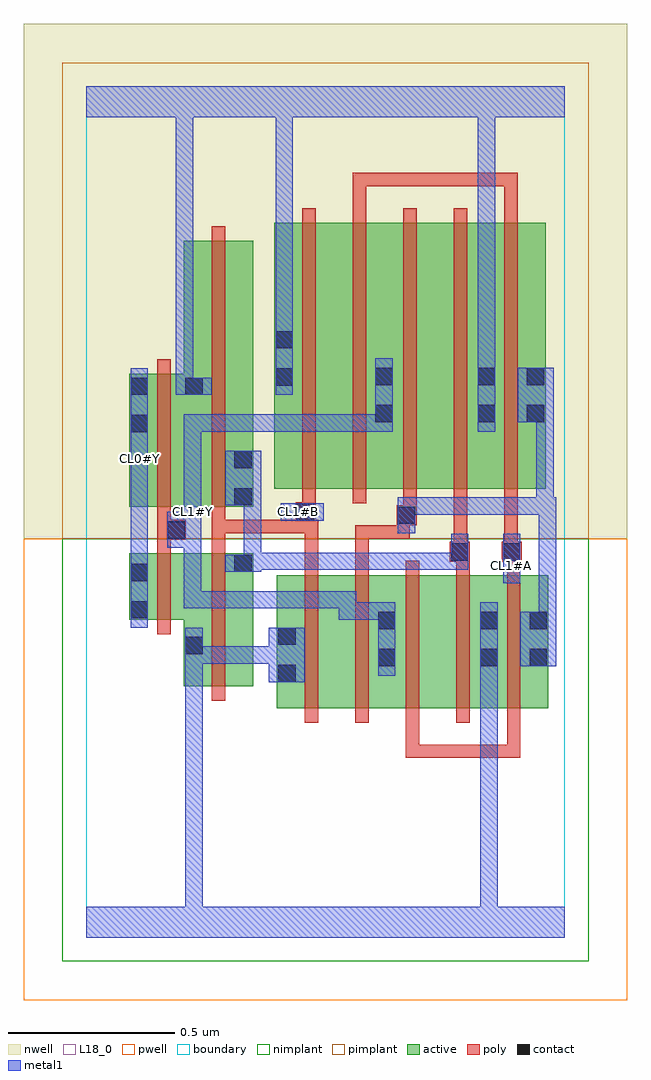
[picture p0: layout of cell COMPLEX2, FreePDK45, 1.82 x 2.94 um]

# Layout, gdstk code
import gdstk
lib = gdstk.Library(unit=1e-6, precision=1e-09)
def R(c, l, rs):  # rectangles x0, y0, x1, y1
    for r in rs: c.add(gdstk.rectangle(r[:2], r[2:], *l))
def A(c, l, x, y, w, h, nx, ny, dx, dy):  # array of equal rectangles
    R(c, l, [(x+i*dx, y+j*dy, x+i*dx+w, y+j*dy+h) for i in range(nx) for j in range(ny)])
active = (1, 0)
pwell = (2, 0)
nwell = (3, 0)
nimplant = (4, 0)
pimplant = (5, 0)
poly = (9, 0)
contact = (10, 0)
metal1 = (11, 0)
L18_0 = (18, 0)
boundary = (235, 0)

complex2 = lib.new_cell('COMPLEX2')
R(complex2, active, [(0.574,0.69,0.754,1.09), (0.754,0.69,0.934,1.09), (0.874,0.69,1.058,1.09), (1.058,0.69,1.242,1.09), (1.182,0.69,1.39,1.09), (0.294,0.756,0.502,1.156), (0.294,0.756,0.354,1.156), (0.442,0.756,0.502,1.156), (0.574,0.756,0.634,0.948), (0.874,0.756,0.934,0.984), (1.182,0.756,1.242,0.984), (1.33,0.756,1.39,1.09), (0.13,0.956,0.354,1.156), (0.13,0.956,0.19,1.156), (0.13,1.296,0.19,1.696), (0.13,1.296,0.354,1.696), (0.294,1.296,0.502,2.096), (0.294,1.296,0.354,2.096), (0.442,1.296,0.502,2.044), (0.566,1.35,0.746,2.15), (0.746,1.35,0.926,2.15), (0.866,1.35,1.05,2.15), (1.05,1.35,1.234,2.15), (1.174,1.35,1.382,2.15), (1.322,1.35,1.382,2.044), (0.566,1.452,0.626,2.044), (0.866,1.546,0.926,2.044), (1.174,1.546,1.234,2.044)])
R(complex2, pwell, [(-0.188,-0.188,1.628,1.2)])
R(complex2, nwell, [(-0.188,1.2,1.628,2.748)])
R(complex2, nimplant, [(-0.072,-0.072,1.512,1.2)])
R(complex2, pimplant, [(-0.072,1.2,1.512,2.632)])
A(complex2, poly, 0.658, 0.646, 0.04, 0.488, 5, 1, 0.152, 0)
A(complex2, poly, 0.65, 1.306, 0.04, 0.888, 5, 1, 0.152, 0)
R(complex2, poly, [(0.962,0.54,1.002,0.686), (0.962,0.54,1.002,0.58), (0.962,0.54,1.184,0.58), (1.144,0.54,1.184,0.58), (1.144,0.54,1.184,0.58), (1.144,0.54,1.184,0.58), (1.144,0.54,1.306,0.58), (1.266,0.54,1.306,0.686), (1.266,0.54,1.306,0.58), (1.266,0.54,1.306,0.58), (1.266,0.54,1.306,0.58), (0.378,0.712,0.418,1.2), (0.214,0.912,0.254,1.2), (0.658,1.094,0.698,1.256), (0.81,1.094,0.85,1.24), (1.114,1.094,1.154,1.17), (1.266,1.094,1.306,1.17), (1.094,1.13,1.154,1.19), (1.25,1.13,1.31,1.19), (1.106,1.15,1.146,1.19), (1.106,1.15,1.146,1.19), (1.106,1.15,1.146,1.346), (1.258,1.15,1.298,1.19), (1.258,1.15,1.298,1.19), (1.258,1.15,1.298,1.346), (0.214,1.16,0.254,1.236), (0.378,1.16,0.418,1.256), (0.214,1.196,0.3,1.256), (0.81,1.2,0.85,1.24), (0.81,1.2,0.85,1.24), (0.81,1.2,0.85,1.24), (0.81,1.2,0.974,1.24), (0.934,1.2,0.974,1.28), (0.214,1.216,0.254,1.256), (0.214,1.216,0.254,1.256), (0.214,1.216,0.254,1.292), (0.378,1.216,0.418,1.256), (0.378,1.216,0.418,1.256), (0.378,1.216,0.418,1.256), (0.378,1.216,0.418,1.256), (0.378,1.216,0.418,1.256), (0.378,1.216,0.418,1.292), (0.378,1.216,0.69,1.256), (0.65,1.216,0.69,1.256), (0.65,1.216,0.69,1.256), (0.65,1.216,0.69,1.29), (0.65,1.216,0.698,1.256), (0.934,1.24,0.974,1.28), (0.934,1.24,0.994,1.3), (0.63,1.25,0.69,1.31), (0.214,1.252,0.254,1.74), (0.378,1.252,0.418,2.14), (0.954,1.26,0.994,1.346), (0.65,1.27,0.69,1.346), (0.802,2.154,0.842,2.3), (1.258,2.154,1.298,2.3), (0.802,2.26,0.842,2.3), (0.802,2.26,0.842,2.3), (0.802,2.26,0.842,2.3), (0.802,2.26,0.956,2.3), (0.916,2.26,0.956,2.3), (0.916,2.26,1.108,2.3), (1.068,2.26,1.108,2.3), (1.068,2.26,1.108,2.3), (1.068,2.26,1.108,2.3), (1.068,2.26,1.298,2.3), (1.258,2.26,1.298,2.3), (1.258,2.26,1.298,2.3), (1.258,2.26,1.298,2.3)])
R(complex2, contact, [(0.578,0.768,0.63,0.82), (0.878,0.816,0.93,0.868), (1.186,0.816,1.238,0.868), (1.334,0.816,1.386,0.868), (0.298,0.852,0.35,0.904), (0.578,0.88,0.63,0.932), (0.878,0.928,0.93,0.98), (1.186,0.928,1.238,0.98), (1.334,0.928,1.386,0.98), (0.134,0.96,0.186,1.012), (0.134,1.072,0.186,1.124), (0.446,1.1,0.498,1.152), (1.098,1.134,1.15,1.186), (1.254,1.134,1.306,1.186), (0.244,1.2,0.296,1.252), (0.938,1.244,0.99,1.296), (0.634,1.254,0.686,1.306), (0.446,1.3,0.498,1.352), (0.446,1.412,0.498,1.464), (0.134,1.52,0.186,1.572), (0.87,1.55,0.922,1.602), (1.178,1.55,1.23,1.602), (1.326,1.55,1.378,1.602), (0.134,1.632,0.186,1.684), (0.298,1.632,0.35,1.684), (0.57,1.66,0.622,1.712), (0.87,1.662,0.922,1.714), (1.178,1.662,1.23,1.714), (1.326,1.662,1.378,1.714), (0.57,1.772,0.622,1.824)])
R(complex2, metal1, [(0,0,1.44,0.092), (0.298,0.04,0.35,0.092), (0.298,0.04,0.35,0.092), (0.298,0.04,0.35,0.092), (0.298,0.04,0.35,0.092), (0.298,0.04,0.35,0.092), (0.298,0.04,0.35,0.092), (0.298,0.04,0.35,0.092), (0.298,0.04,0.35,0.092), (0.298,0.04,0.35,0.876), (1.186,0.04,1.238,0.092), (1.186,0.04,1.238,0.092), (1.186,0.04,1.238,0.092), (1.186,0.04,1.238,0.092), (1.186,0.04,1.238,0.092), (1.186,0.04,1.238,0.092), (1.186,0.04,1.238,0.84), (0.55,0.768,0.658,0.932), (0.878,0.788,0.93,1.008), (1.186,0.788,1.238,0.84), (1.186,0.788,1.238,0.84), (1.186,0.788,1.238,0.84), (1.186,0.788,1.238,0.84), (1.186,0.788,1.238,0.84), (1.186,0.788,1.238,0.84), (1.186,0.788,1.238,1.008), (1.306,0.816,1.414,0.98), (0.298,0.824,0.35,0.876), (0.298,0.824,0.35,0.876), (0.298,0.824,0.35,0.876), (0.298,0.824,0.35,0.876), (0.298,0.824,0.35,0.932), (0.298,0.824,0.492,0.876), (0.44,0.824,0.492,0.876), (0.44,0.824,0.492,0.876), (0.44,0.824,0.492,0.876), (0.44,0.824,0.602,0.876), (1.362,0.928,1.414,1.324), (0.134,0.932,0.186,1.152), (0.76,0.956,0.93,1.008), (0.76,0.956,0.812,1.042), (0.294,0.99,0.346,1.042), (0.294,0.99,0.492,1.042), (0.294,0.99,0.346,1.278), (0.44,0.99,0.492,1.042), (0.44,0.99,0.492,1.042), (0.44,0.99,0.492,1.042), (0.44,0.99,0.702,1.042), (0.65,0.99,0.702,1.042), (0.65,0.99,0.702,1.042), (0.65,0.99,0.702,1.042), (0.65,0.99,0.702,1.042), (0.65,0.99,0.702,1.042), (0.65,0.99,0.812,1.042), (0.76,0.99,0.812,1.042), (0.76,0.99,0.812,1.042), (1.254,1.066,1.306,1.214), (0.134,1.1,0.186,1.438), (0.418,1.1,0.526,1.152), (0.474,1.1,0.526,1.158), (0.474,1.106,0.526,1.158), (0.474,1.106,0.702,1.158), (0.474,1.106,0.526,1.352), (0.65,1.106,0.702,1.158), (0.65,1.106,0.702,1.158), (0.65,1.106,0.702,1.158), (0.65,1.106,0.812,1.158), (0.76,1.106,0.812,1.158), (0.76,1.106,0.812,1.158), (0.76,1.106,0.812,1.158), (0.76,1.106,0.922,1.158), (0.87,1.106,0.922,1.158), (0.87,1.106,0.922,1.158), (0.87,1.106,0.922,1.158), (0.87,1.106,1.12,1.158), (1.068,1.106,1.12,1.158), (1.068,1.106,1.15,1.158), (1.098,1.106,1.15,1.214), (0.244,1.172,0.296,1.28), (0.938,1.216,0.99,1.324), (0.294,1.226,0.346,1.278), (0.294,1.226,0.346,1.278), (0.294,1.226,0.346,1.334), (0.244,1.228,0.346,1.28), (0.586,1.254,0.714,1.306), (0.938,1.272,1.12,1.324), (1.068,1.272,1.12,1.324), (1.068,1.272,1.12,1.324), (1.068,1.272,1.12,1.324), (1.068,1.272,1.24,1.324), (1.188,1.272,1.24,1.324), (1.188,1.272,1.24,1.324), (1.188,1.272,1.24,1.324), (1.188,1.272,1.406,1.324), (1.354,1.272,1.406,1.602), (1.354,1.272,1.414,1.324), (1.362,1.272,1.414,1.324), (1.362,1.272,1.414,1.324), (0.294,1.282,0.346,1.334), (0.294,1.282,0.346,1.334), (0.294,1.282,0.346,1.574), (0.418,1.3,0.526,1.464), (0.474,1.3,0.526,1.352), (0.474,1.3,0.526,1.352), (0.134,1.386,0.186,1.494), (0.134,1.442,0.186,1.494), (0.134,1.442,0.186,1.494), (0.134,1.442,0.186,1.544), (0.134,1.492,0.186,1.712), (0.294,1.522,0.346,1.574), (0.294,1.522,0.346,1.574), (0.294,1.522,0.346,1.574), (0.294,1.522,0.492,1.574), (0.44,1.522,0.492,1.574), (0.44,1.522,0.492,1.574), (0.44,1.522,0.492,1.574), (0.44,1.522,0.636,1.574), (0.584,1.522,0.636,1.574), (0.584,1.522,0.636,1.574), (0.584,1.522,0.636,1.574), (0.584,1.522,0.636,1.574), (0.584,1.522,0.636,1.574), (0.584,1.522,0.812,1.574), (0.76,1.522,0.812,1.574), (0.76,1.522,0.812,1.574), (0.76,1.522,0.812,1.574), (0.76,1.522,0.922,1.574), (0.87,1.522,0.922,1.742), (1.178,1.522,1.23,1.742), (1.298,1.55,1.406,1.714), (0.27,1.632,0.322,1.684), (0.27,1.632,0.322,1.684), (0.27,1.632,0.322,1.684), (0.27,1.632,0.322,1.684), (0.27,1.632,0.322,1.684), (0.27,1.632,0.322,1.684), (0.27,1.632,0.378,1.684), (0.27,1.632,0.322,2.52), (0.57,1.632,0.622,1.852), (1.178,1.69,1.23,1.742), (1.178,1.69,1.23,1.742), (1.178,1.69,1.23,2.52), (0.57,1.8,0.622,1.852), (0.57,1.8,0.622,1.852), (0.57,1.8,0.622,1.852), (0.57,1.8,0.622,1.852), (0.57,1.8,0.622,1.852), (0.57,1.8,0.622,1.852), (0.57,1.8,0.622,2.52), (0,2.468,1.44,2.56), (0.27,2.468,0.322,2.52), (0.27,2.468,0.322,2.52), (0.57,2.468,0.622,2.52), (0.57,2.468,0.622,2.52), (1.178,2.468,1.23,2.52), (1.178,2.468,1.23,2.52), (1.178,2.468,1.23,2.52), (1.178,2.468,1.23,2.52), (1.178,2.468,1.23,2.52), (1.178,2.468,1.23,2.52)])
A(complex2, L18_0, 0.294, 1.226, 0.052, 0.052, 1, 3, 0, 0.028)
R(complex2, L18_0, [(0,0,1.44,0.092), (0.298,0.04,0.35,0.092), (0.298,0.04,0.35,0.092), (0.298,0.04,0.35,0.092), (0.298,0.04,0.35,0.092), (0.298,0.04,0.35,0.092), (0.298,0.04,0.35,0.092), (0.298,0.04,0.35,0.092), (0.298,0.04,0.35,0.092), (0.298,0.04,0.35,0.876), (1.186,0.04,1.238,0.092), (1.186,0.04,1.238,0.092), (1.186,0.04,1.238,0.092), (1.186,0.04,1.238,0.092), (1.186,0.04,1.238,0.092), (1.186,0.04,1.238,0.092), (1.186,0.04,1.238,0.84), (0.55,0.768,0.658,0.932), (0.878,0.788,0.93,1.008), (1.186,0.788,1.238,1.008), (1.186,0.788,1.238,0.84), (1.186,0.788,1.238,0.84), (1.186,0.788,1.238,0.84), (1.186,0.788,1.238,0.84), (1.186,0.788,1.238,0.84), (1.186,0.788,1.238,0.84), (0.298,0.824,0.35,0.932), (0.298,0.824,0.35,0.876), (0.298,0.824,0.35,0.876), (0.298,0.824,0.35,0.876), (0.298,0.824,0.35,0.876), (0.298,0.824,0.492,0.876), (0.44,0.824,0.492,0.876), (0.44,0.824,0.492,0.876), (0.44,0.824,0.492,0.876), (0.44,0.824,0.602,0.876), (0.134,0.932,0.186,1.152), (0.76,0.956,0.812,1.042), (0.76,0.956,0.93,1.008), (0.294,0.99,0.346,1.042), (0.294,0.99,0.346,1.278), (0.294,0.99,0.492,1.042), (0.44,0.99,0.492,1.042), (0.44,0.99,0.492,1.042), (0.44,0.99,0.492,1.042), (0.44,0.99,0.702,1.042), (0.65,0.99,0.702,1.042), (0.65,0.99,0.702,1.042), (0.65,0.99,0.702,1.042), (0.65,0.99,0.702,1.042), (0.65,0.99,0.702,1.042), (0.65,0.99,0.812,1.042), (0.76,0.99,0.812,1.042), (0.76,0.99,0.812,1.042), (1.254,1.066,1.306,1.214), (1.254,1.094,1.306,1.146), (0.134,1.1,0.186,1.438), (0.244,1.172,0.296,1.28), (0.294,1.226,0.346,1.334), (0.294,1.226,0.346,1.278), (0.244,1.228,0.346,1.28), (0.586,1.254,0.714,1.306), (0.614,1.254,0.666,1.306), (0.294,1.282,0.346,1.334), (0.294,1.282,0.346,1.574), (0.134,1.386,0.186,1.494), (0.134,1.414,0.186,1.466), (0.134,1.442,0.186,1.494), (0.134,1.442,0.186,1.494), (0.134,1.442,0.186,1.544), (0.134,1.492,0.186,1.712), (0.294,1.522,0.346,1.574), (0.294,1.522,0.346,1.574), (0.294,1.522,0.346,1.574), (0.294,1.522,0.492,1.574), (0.44,1.522,0.492,1.574), (0.44,1.522,0.492,1.574), (0.44,1.522,0.492,1.574), (0.44,1.522,0.636,1.574), (0.584,1.522,0.636,1.574), (0.584,1.522,0.636,1.574), (0.584,1.522,0.636,1.574), (0.584,1.522,0.636,1.574), (0.584,1.522,0.636,1.574), (0.584,1.522,0.812,1.574), (0.76,1.522,0.812,1.574), (0.76,1.522,0.812,1.574), (0.76,1.522,0.812,1.574), (0.76,1.522,0.922,1.574), (0.87,1.522,0.922,1.742), (1.178,1.522,1.23,1.742), (0.27,1.632,0.322,1.684), (0.27,1.632,0.322,1.684), (0.27,1.632,0.322,1.684), (0.27,1.632,0.322,1.684), (0.27,1.632,0.322,1.684), (0.27,1.632,0.322,1.684), (0.27,1.632,0.378,1.684), (0.27,1.632,0.322,2.52), (0.57,1.632,0.622,1.852), (1.178,1.69,1.23,1.742), (1.178,1.69,1.23,1.742), (1.178,1.69,1.23,2.52), (0.57,1.8,0.622,1.852), (0.57,1.8,0.622,1.852), (0.57,1.8,0.622,1.852), (0.57,1.8,0.622,1.852), (0.57,1.8,0.622,1.852), (0.57,1.8,0.622,1.852), (0.57,1.8,0.622,2.52), (0,2.468,1.44,2.56), (0.27,2.468,0.322,2.52), (0.27,2.468,0.322,2.52), (0.57,2.468,0.622,2.52), (0.57,2.468,0.622,2.52), (1.178,2.468,1.23,2.52), (1.178,2.468,1.23,2.52), (1.178,2.468,1.23,2.52), (1.178,2.468,1.23,2.52), (1.178,2.468,1.23,2.52), (1.178,2.468,1.23,2.52)])
R(complex2, boundary, [(0,0,1.44,2.56)])
complex2.add(gdstk.Label('CL0#Y', (0.16,1.44), layer=11, texttype=0))
complex2.add(gdstk.Label('CL1#A', (1.28,1.12), layer=11, texttype=0))
complex2.add(gdstk.Label('CL1#B', (0.64,1.28), layer=11, texttype=0))
complex2.add(gdstk.Label('CL1#Y', (0.32,1.28), layer=11, texttype=0))

lib.write_gds('COMPLEX2.gds')
